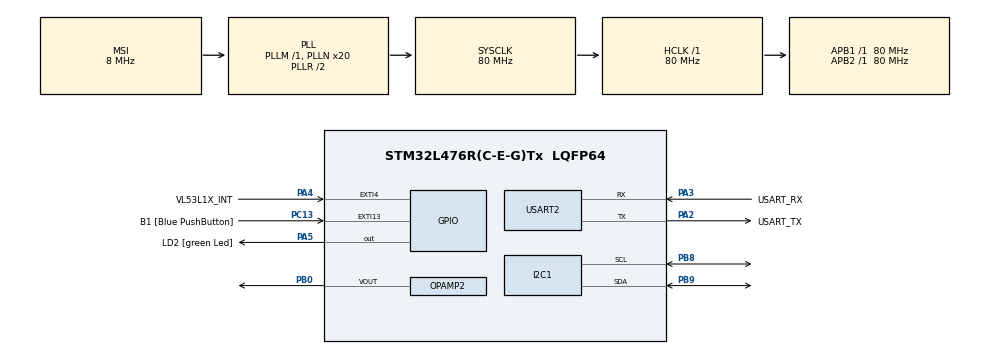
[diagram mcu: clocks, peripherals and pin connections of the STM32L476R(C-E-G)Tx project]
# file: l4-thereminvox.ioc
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DAC1.DAC_Channel-DAC_OUT2_Int=DAC_CHANNEL_2
DAC1.DAC_SampleAndHold-DAC_OUT1_Int=DAC_SAMPLEANDHOLD_DISABLE
DAC1.DAC_Trigger-DAC_OUT2_Int=DAC_TRIGGER_NONE
Mcu.Family=STM32L4
Mcu.Name=STM32L476R(C-E-G)Tx
Mcu.Package=LQFP64
NVIC.PriorityGroup=NVIC_PRIORITYGROUP_4
NVIC.TIM8_UP_IRQn=true\:0\:0\:false\:false\:false\:true\:false
OPAMP2.PowerSupplyRange=OPAMP_POWERSUPPLY_HIGH
PA13\ (JTMS-SWDIO).GPIO_Label=TMS
PA13\ (JTMS-SWDIO).Mode=Serial_Wire
PA13\ (JTMS-SWDIO).Signal=SYS_JTMS-SWDIO
PA14\ (JTCK-SWCLK).GPIO_Label=TCK
PA14\ (JTCK-SWCLK).Mode=Serial_Wire
PA14\ (JTCK-SWCLK).Signal=SYS_JTCK-SWCLK
PA2.GPIO_Label=USART_TX
PA2.GPIO_Mode=GPIO_MODE_AF_PP
PA2.GPIO_PuPd=GPIO_NOPULL
PA2.GPIO_Speed=GPIO_SPEED_FREQ_VERY_HIGH
PA2.Mode=Asynchronous
PA2.Signal=USART2_TX
PA3.GPIO_Label=USART_RX
PA3.GPIO_Mode=GPIO_MODE_AF_PP
PA3.GPIO_PuPd=GPIO_NOPULL
PA3.GPIO_Speed=GPIO_SPEED_FREQ_VERY_HIGH
PA3.Mode=Asynchronous
PA3.Signal=USART2_RX
PA4.GPIO_Label=VL53L1X_INT
PA4.GPIO_ModeDefaultEXTI=GPIO_MODE_IT_FALLING
PA4.GPIO_PuPd=GPIO_PULLUP
PA4.Signal=GPXTI4
PA5.GPIO_Label=LD2 [green Led]
PA5.GPIO_ModeDefaultOutputPP=GPIO_MODE_OUTPUT_PP
PA5.GPIO_PuPd=GPIO_NOPULL
PA5.GPIO_Speed=GPIO_SPEED_FREQ_LOW
PA5.Signal=GPIO_Output
PB0.Mode=Follower-DAC_OUT2-INP
PB0.Signal=OPAMP2_VOUT
PB3\ (JTDO-TRACESWO).GPIO_Label=SWO
PB3\ (JTDO-TRACESWO).Signal=SYS_JTDO-SWO
PB8.Mode=I2C
PB8.Signal=I2C1_SCL
PB9.Mode=I2C
PB9.Signal=I2C1_SDA
PC13.GPIO_Label=B1 [Blue PushButton]
PC13.GPIO_ModeDefaultEXTI=GPIO_MODE_IT_FALLING
PC13.GPIO_PuPd=GPIO_NOPULL
PC13.Signal=GPXTI13
PC14-OSC32_IN\ (PC14).Mode=LSE-External-Oscillator
PC14-OSC32_IN\ (PC14).Signal=RCC_OSC32_IN
PC15-OSC32_OUT\ (PC15).Mode=LSE-External-Oscillator
PC15-OSC32_OUT\ (PC15).Signal=RCC_OSC32_OUT
PH0-OSC_IN\ (PH0).Signal=RCC_OSC_IN
PH1-OSC_OUT\ (PH1).Signal=RCC_OSC_OUT
ProjectManager.HeapSize=0x200
ProjectManager.StackSize=0x400
ProjectManager.TargetToolchain=SW4STM32
RCC.ADCFreq_Value=32000000
RCC.AHBFreq_Value=80000000
RCC.APB1Freq_Value=80000000
RCC.APB1TimFreq_Value=80000000
RCC.APB2Freq_Value=80000000
RCC.APB2TimFreq_Value=80000000
RCC.CortexFreq_Value=80000000
RCC.HCLKFreq_Value=80000000
RCC.HSE_VALUE=8000000
RCC.HSI_VALUE=16000000
RCC.MSIClockRange=RCC_MSIRANGE_7
RCC.MSI_VALUE=8000000
RCC.PLLN=20
RCC.PREFETCH_ENABLE=1
RCC.SYSCLKFreq_VALUE=80000000
RCC.SYSCLKSource=RCC_SYSCLKSOURCE_PLLCLK
RCC.USBFreq_Value=32000000
RCC.VCOOutputFreq_Value=160000000
TIM8.CounterMode=TIM_COUNTERMODE_DOWN
TIM8.Period=1666
TIM8.Prescaler=0
USART2.VirtualMode-Asynchronous=VM_ASYNC
VP_DAC1_VS_DACI1.Mode=DAC_OUT1_Int
VP_DAC1_VS_DACI2.Mode=DAC_OUT2_Int
VP_TIM8_VS_ClockSourceINT.Mode=Internal
board=NUCLEO-L476RG

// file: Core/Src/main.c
/* USER CODE BEGIN Header */
/**
  ******************************************************************************
  * @file           : main.c
  * @brief          : Main program body
  ******************************************************************************
  * @attention
  *
  * <h2><center>&copy; Copyright (c) 2019 STMicroelectronics.
  * All rights reserved.</center></h2>
  *
  * This software component is licensed by ST under BSD 3-Clause license,
  * the "License"; You may not use this file except in compliance with the
  * License. You may obtain a copy of the License at:
  *                        opensource.org/licenses/BSD-3-Clause
  *
  ******************************************************************************
  */
/* USER CODE END Header */

#include "main.h"

/* USER CODE BEGIN Includes */
#include "math.h"

/* USER CODE END Includes */

DAC_HandleTypeDef hdac1;

I2C_HandleTypeDef hi2c1;

OPAMP_HandleTypeDef hopamp2;

TIM_HandleTypeDef htim8;

UART_HandleTypeDef huart2;

void SystemClock_Config(void);

static void MX_GPIO_Init(void);

static void MX_DAC1_Init(void);

static void MX_I2C1_Init(void);

static void MX_OPAMP2_Init(void);

static void MX_USART2_UART_Init(void);

static void MX_TIM8_Init(void);

/* USER CODE BEGIN 0 */
volatile int volume = 500;

int __unused _write(int __unused file, char *data, int len) {
    return HAL_UART_Transmit(&huart2, (uint8_t *) data, len, 1000) == HAL_OK ? len : 0;
}

VL53L1_Dev_t leftSensor = {
        .I2cDevAddr = 0x62,
        .new_data_ready_poll_duration_ms = 1000,
};

VL53L1_Dev_t centerSensor = {
        .I2cDevAddr = 0x52,
        .new_data_ready_poll_duration_ms = 1000,
};

void setupSensor(VL53L1_DEV dev) {
    uint16_t wordData;
    uint8_t byteData;
    __unused int status = 0;

/* Those basic I2C read functions can be used to check your own I2C functions */
    status += VL53L1_RdByte(dev, 0x010F, &byteData);
    printf("VL53L1X Model_ID: %X\n", byteData);
    status += VL53L1_RdByte(dev, 0x0110, &byteData);
    printf("VL53L1X Module_Type: %X\n", byteData);
    status += VL53L1_RdWord(dev, 0x010F, &wordData);
    printf("VL53L1X: %X\n", wordData);
    status += VL53L1_WaitDeviceBooted(dev);
    printf("Chip booted\n");

    /* This function must to be called to initialize the sensor with the default setting  */
    status += VL53L1_DataInit(dev);
    status += VL53L1_StaticInit(dev);
    /* Optional functions to be used to change the main ranging parameters according the application requirements to get the best ranging performances */
    status += VL53L1_SetPresetMode(dev, VL53L1_PRESETMODE_LITE_RANGING);
    status += VL53L1_SetDistanceMode(dev, VL53L1_DISTANCEMODE_SHORT);
    status += VL53L1_SetMeasurementTimingBudgetMicroSeconds(dev, 10000);
    status += VL53L1_SetInterMeasurementPeriodMilliSeconds(dev, 0);

//  status = VL53L1X_SetOffset(dev,20); /* offset compensation in mm */
//  status = VL53L1X_SetROI(dev, 16, 16); /* minimum ROI 4,4 */
//	status = VL53L1X_CalibrateOffset(dev, 140, &offset); /* may take few second to perform the offset cal*/
//	status = VL53L1X_CalibrateXtalk(dev, 1000, &xtalk); /* may take few second to perform the xtalk cal */
    status += VL53L1_StartMeasurement(dev);   /* This function has to be called to enable the ranging */

    if (status) Error_Handler();
}

#define MIN_DISTANCE 70
#define DISTANCE_RANGE 320
#define MAX_VOLUME 1000
#define MIN_FREQ 20
#define MAX_FREQ 1200

static uint32_t phase64K = 0;
static volatile uint32_t phase64KDelta = 0x20000;

__unused void TIM8_IRQHandler(void) {
    __HAL_TIM_CLEAR_IT(&htim8, TIM_IT_UPDATE);
    phase64K = (phase64K + phase64KDelta) % (1000 * 0x10000);
    int value = 2048 + (AUDIO_SAMPLE[phase64K / 0x10000] * volume / MAX_VOLUME);
    DAC1->DHR12L2 = value;
}

/* USER CODE END 0 */

int main(void) {
    /* USER CODE BEGIN 1 */
    __unused int status = 0;

    /* USER CODE END 1 */

    /* MCU Configuration--------------------------------------------------------*/

    /* Reset of all peripherals, Initializes the Flash interface and the Systick. */
    HAL_Init();

    /* Configure the system clock */
    SystemClock_Config();

    /* Initialize all configured peripherals */
    MX_GPIO_Init();
    MX_DAC1_Init();
    MX_I2C1_Init();
    MX_OPAMP2_Init();
    MX_USART2_UART_Init();
    MX_TIM8_Init();
    /* USER CODE BEGIN 2 */
    XNUCLEO53L1A1_Init();
    status += XNUCLEO53L1A1_ResetId('c', 0); // Shutdown center sensor

    status += XNUCLEO53L1A1_ResetId('l', 0); // Reset left sensor
    HAL_Delay(2);
    status += XNUCLEO53L1A1_ResetId('l', 1);
    HAL_Delay(2);
    VL53L1_SetDeviceAddress(&centerSensor, leftSensor.I2cDevAddr); //Set left sensor to secondary address

    status += XNUCLEO53L1A1_ResetId('c', 1); // run center sensor
    HAL_Delay(2);

    setupSensor(&leftSensor);
    setupSensor(&centerSensor);
    HAL_OPAMP_Start(&hopamp2);
    HAL_DAC_Start(&hdac1, DAC_CHANNEL_2);
    HAL_TIM_Base_Start_IT(&htim8);
    if (status) Error_Handler();
    /* USER CODE END 2 */

    /* Infinite loop */
    /* USER CODE BEGIN WHILE */
#pragma clang diagnostic push
#pragma clang diagnostic ignored "-Wmissing-noreturn"
    while (1) {
        /* USER CODE END WHILE */

        /* USER CODE BEGIN 3 */
        VL53L1_RangingMeasurementData_t data;

        status += VL53L1_WaitMeasurementDataReady(&centerSensor);
        status += VL53L1_GetRangingMeasurementData(&centerSensor, &data);
        VL53L1_ClearInterruptAndStartMeasurement(&centerSensor);
        if (data.RangeStatus == 0) {
            int d = (data.RangeMilliMeter - MIN_DISTANCE);
            volume = d * d * MAX_VOLUME /
                     (DISTANCE_RANGE * DISTANCE_RANGE);
            if (volume > MAX_VOLUME) volume = MAX_VOLUME;
            else if (volume < 0) volume = 0;
        } else {
            volume = 0;
        }

        double freq;
        status += VL53L1_WaitMeasurementDataReady(&leftSensor);
        status += VL53L1_GetRangingMeasurementData(&leftSensor, &data);
        VL53L1_ClearInterruptAndStartMeasurement(&leftSensor);
        if (data.RangeStatus != 0) {
            volume = 0;
            freq = 0;
        } else {
            int d = (data.RangeMilliMeter - MIN_DISTANCE);
            freq = MIN_FREQ + (double) d * d * (MAX_FREQ - MIN_FREQ) /
                              (DISTANCE_RANGE * DISTANCE_RANGE);
            if (freq > MAX_FREQ) {
                freq = MAX_FREQ;//NOLINT
            } else if (freq < 20) {
                volume = 0;
            }
            phase64KDelta = (65536.0 / 48 * freq);
        }
        if (status) Error_Handler();
    }
#pragma clang diagnostic pop
    /* USER CODE END 3 */
}

void SystemClock_Config(void) {
    RCC_OscInitTypeDef RCC_OscInitStruct = {0};
    RCC_ClkInitTypeDef RCC_ClkInitStruct = {0};
    RCC_PeriphCLKInitTypeDef PeriphClkInit = {0};

    /** Configure LSE Drive Capability
    */
    HAL_PWR_EnableBkUpAccess();
    __HAL_RCC_LSEDRIVE_CONFIG(RCC_LSEDRIVE_LOW);
    /** Initializes the CPU, AHB and APB busses clocks
    */
    RCC_OscInitStruct.OscillatorType = RCC_OSCILLATORTYPE_LSE | RCC_OSCILLATORTYPE_MSI;
    RCC_OscInitStruct.LSEState = RCC_LSE_ON;
    RCC_OscInitStruct.MSIState = RCC_MSI_ON;
    RCC_OscInitStruct.MSICalibrationValue = 0;
    RCC_OscInitStruct.MSIClockRange = RCC_MSIRANGE_7;
    RCC_OscInitStruct.PLL.PLLState = RCC_PLL_ON;
    RCC_OscInitStruct.PLL.PLLSource = RCC_PLLSOURCE_MSI;
    RCC_OscInitStruct.PLL.PLLM = 1;
    RCC_OscInitStruct.PLL.PLLN = 20;
    RCC_OscInitStruct.PLL.PLLP = RCC_PLLP_DIV7;
    RCC_OscInitStruct.PLL.PLLQ = RCC_PLLQ_DIV2;
    RCC_OscInitStruct.PLL.PLLR = RCC_PLLR_DIV2;
    if (HAL_RCC_OscConfig(&RCC_OscInitStruct) != HAL_OK) {
        Error_Handler();
    }
    /** Initializes the CPU, AHB and APB busses clocks
    */
    RCC_ClkInitStruct.ClockType = RCC_CLOCKTYPE_HCLK | RCC_CLOCKTYPE_SYSCLK
                                  | RCC_CLOCKTYPE_PCLK1 | RCC_CLOCKTYPE_PCLK2;
    RCC_ClkInitStruct.SYSCLKSource = RCC_SYSCLKSOURCE_PLLCLK;
    RCC_ClkInitStruct.AHBCLKDivider = RCC_SYSCLK_DIV1;
    RCC_ClkInitStruct.APB1CLKDivider = RCC_HCLK_DIV1;
    RCC_ClkInitStruct.APB2CLKDivider = RCC_HCLK_DIV1;

    if (HAL_RCC_ClockConfig(&RCC_ClkInitStruct, FLASH_LATENCY_4) != HAL_OK) {
        Error_Handler();
    }
    PeriphClkInit.PeriphClockSelection = RCC_PERIPHCLK_USART2 | RCC_PERIPHCLK_I2C1;
    PeriphClkInit.Usart2ClockSelection = RCC_USART2CLKSOURCE_PCLK1;
    PeriphClkInit.I2c1ClockSelection = RCC_I2C1CLKSOURCE_PCLK1;
    if (HAL_RCCEx_PeriphCLKConfig(&PeriphClkInit) != HAL_OK) {
        Error_Handler();
    }
    /** Configure the main internal regulator output voltage
    */
    if (HAL_PWREx_ControlVoltageScaling(PWR_REGULATOR_VOLTAGE_SCALE1) != HAL_OK) {
        Error_Handler();
    }
    /** Enable MSI Auto calibration
    */
    HAL_RCCEx_EnableMSIPLLMode();
}

static void MX_DAC1_Init(void) {

    DAC_ChannelConfTypeDef sConfig = {0};

    /** DAC Initialization
    */
    hdac1.Instance = DAC1;
    if (HAL_DAC_Init(&hdac1) != HAL_OK) {
        Error_Handler();
    }
    /** DAC channel OUT1 config
    */
    sConfig.DAC_SampleAndHold = DAC_SAMPLEANDHOLD_DISABLE;
    sConfig.DAC_Trigger = DAC_TRIGGER_NONE;
    sConfig.DAC_OutputBuffer = DAC_OUTPUTBUFFER_DISABLE;
    sConfig.DAC_ConnectOnChipPeripheral = DAC_CHIPCONNECT_ENABLE;
    sConfig.DAC_UserTrimming = DAC_TRIMMING_FACTORY;
    if (HAL_DAC_ConfigChannel(&hdac1, &sConfig, DAC_CHANNEL_1) != HAL_OK) {
        Error_Handler();
    }
    /** DAC channel OUT2 config
    */
    sConfig.DAC_ConnectOnChipPeripheral = DAC_CHIPCONNECT_ENABLE;
    if (HAL_DAC_ConfigChannel(&hdac1, &sConfig, DAC_CHANNEL_2) != HAL_OK) {
        Error_Handler();
    }

}

static void MX_I2C1_Init(void) {

    hi2c1.Instance = I2C1;
    hi2c1.Init.Timing = 0x10909CEC;
    hi2c1.Init.OwnAddress1 = 0;
    hi2c1.Init.AddressingMode = I2C_ADDRESSINGMODE_7BIT;
    hi2c1.Init.DualAddressMode = I2C_DUALADDRESS_DISABLE;
    hi2c1.Init.OwnAddress2 = 0;
    hi2c1.Init.OwnAddress2Masks = I2C_OA2_NOMASK;
    hi2c1.Init.GeneralCallMode = I2C_GENERALCALL_DISABLE;
    hi2c1.Init.NoStretchMode = I2C_NOSTRETCH_DISABLE;
    if (HAL_I2C_Init(&hi2c1) != HAL_OK) {
        Error_Handler();
    }
    /** Configure Analogue filter
    */
    if (HAL_I2CEx_ConfigAnalogFilter(&hi2c1, I2C_ANALOGFILTER_ENABLE) != HAL_OK) {
        Error_Handler();
    }
    /** Configure Digital filter
    */
    if (HAL_I2CEx_ConfigDigitalFilter(&hi2c1, 0) != HAL_OK) {
        Error_Handler();
    }

}

static void MX_OPAMP2_Init(void) {

    hopamp2.Instance = OPAMP2;
    hopamp2.Init.PowerSupplyRange = OPAMP_POWERSUPPLY_HIGH;
    hopamp2.Init.Mode = OPAMP_FOLLOWER_MODE;
    hopamp2.Init.NonInvertingInput = OPAMP_NONINVERTINGINPUT_DAC_CH;
    hopamp2.Init.PowerMode = OPAMP_POWERMODE_NORMAL;
    hopamp2.Init.UserTrimming = OPAMP_TRIMMING_FACTORY;
    if (HAL_OPAMP_Init(&hopamp2) != HAL_OK) {
        Error_Handler();
    }

}

static void MX_TIM8_Init(void) {

    TIM_ClockConfigTypeDef sClockSourceConfig = {0};
    TIM_MasterConfigTypeDef sMasterConfig = {0};

    htim8.Instance = TIM8;
    htim8.Init.Prescaler = 0;
    htim8.Init.CounterMode = TIM_COUNTERMODE_DOWN;
    htim8.Init.Period = 1666;
    htim8.Init.ClockDivision = TIM_CLOCKDIVISION_DIV1;
    htim8.Init.RepetitionCounter = 0;
    htim8.Init.AutoReloadPreload = TIM_AUTORELOAD_PRELOAD_DISABLE;
    if (HAL_TIM_Base_Init(&htim8) != HAL_OK) {
        Error_Handler();
    }
    sClockSourceConfig.ClockSource = TIM_CLOCKSOURCE_INTERNAL;
    if (HAL_TIM_ConfigClockSource(&htim8, &sClockSourceConfig) != HAL_OK) {
        Error_Handler();
    }
    sMasterConfig.MasterOutputTrigger = TIM_TRGO_RESET;
    sMasterConfig.MasterOutputTrigger2 = TIM_TRGO2_RESET;
    sMasterConfig.MasterSlaveMode = TIM_MASTERSLAVEMODE_DISABLE;
    if (HAL_TIMEx_MasterConfigSynchronization(&htim8, &sMasterConfig) != HAL_OK) {
        Error_Handler();
    }

}

static void MX_USART2_UART_Init(void) {

    huart2.Instance = USART2;
    huart2.Init.BaudRate = 115200;
    huart2.Init.WordLength = UART_WORDLENGTH_8B;
    huart2.Init.StopBits = UART_STOPBITS_1;
    huart2.Init.Parity = UART_PARITY_NONE;
    huart2.Init.Mode = UART_MODE_TX_RX;
    huart2.Init.HwFlowCtl = UART_HWCONTROL_NONE;
    huart2.Init.OverSampling = UART_OVERSAMPLING_16;
    huart2.Init.OneBitSampling = UART_ONE_BIT_SAMPLE_DISABLE;
    huart2.AdvancedInit.AdvFeatureInit = UART_ADVFEATURE_NO_INIT;
    if (HAL_UART_Init(&huart2) != HAL_OK) {
        Error_Handler();
    }

}

static void MX_GPIO_Init(void) {
    GPIO_InitTypeDef GPIO_InitStruct = {0};

    /* GPIO Ports Clock Enable */
    __HAL_RCC_GPIOC_CLK_ENABLE();
    __HAL_RCC_GPIOH_CLK_ENABLE();
    __HAL_RCC_GPIOA_CLK_ENABLE();
    __HAL_RCC_GPIOB_CLK_ENABLE();

    /*Configure GPIO pin Output Level */
    HAL_GPIO_WritePin(LD2_GPIO_Port, LD2_Pin, GPIO_PIN_RESET);

    /*Configure GPIO pin : B1_Pin */
    GPIO_InitStruct.Pin = B1_Pin;
    GPIO_InitStruct.Mode = GPIO_MODE_IT_FALLING;
    GPIO_InitStruct.Pull = GPIO_NOPULL;
    HAL_GPIO_Init(B1_GPIO_Port, &GPIO_InitStruct);

    /*Configure GPIO pin : VL53L1X_INT_Pin */
    GPIO_InitStruct.Pin = VL53L1X_INT_Pin;
    GPIO_InitStruct.Mode = GPIO_MODE_IT_FALLING;
    GPIO_InitStruct.Pull = GPIO_PULLUP;
    HAL_GPIO_Init(VL53L1X_INT_GPIO_Port, &GPIO_InitStruct);

    /*Configure GPIO pin : LD2_Pin */
    GPIO_InitStruct.Pin = LD2_Pin;
    GPIO_InitStruct.Mode = GPIO_MODE_OUTPUT_PP;
    GPIO_InitStruct.Pull = GPIO_NOPULL;
    GPIO_InitStruct.Speed = GPIO_SPEED_FREQ_LOW;
    HAL_GPIO_Init(LD2_GPIO_Port, &GPIO_InitStruct);

}

void Error_Handler(void) {
}

/************************ (C) COPYRIGHT STMicroelectronics *****END OF FILE****/
